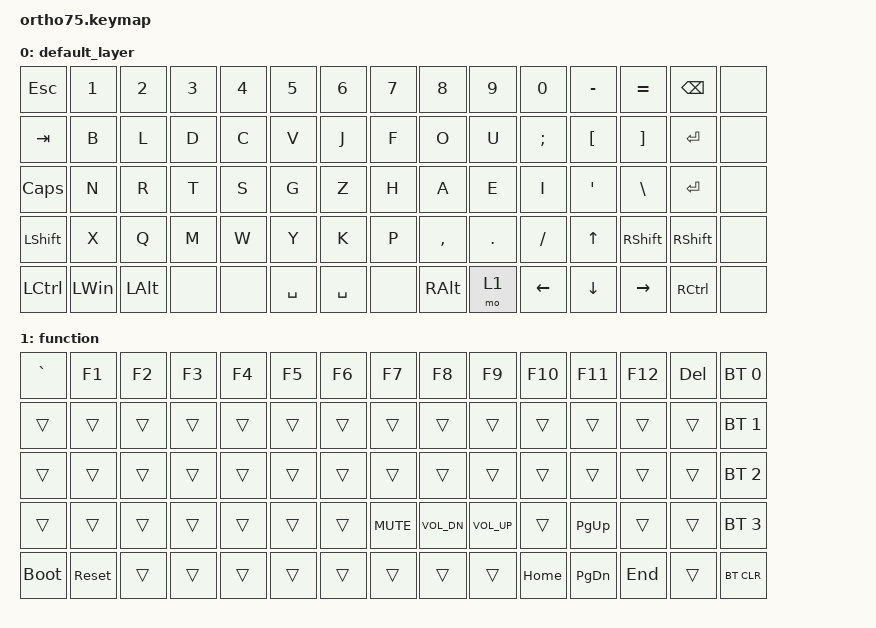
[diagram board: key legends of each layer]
/*
 * Copyright (c) 2020 The ZMK Contributors
 *
 * SPDX-License-Identifier: MIT
 */

#include <behaviors.dtsi>
#include <dt-bindings/zmk/bt.h>
#include <dt-bindings/zmk/keys.h>

/ {
    keymap {
        compatible = "zmk,keymap";

        default_layer {
            bindings = <
&kp ESCAPE    &kp N1        &kp N2        &kp N3  &kp N4  &kp N5     &kp N6     &kp N7  &kp N8         &kp N9      &kp N0         &kp MINUS         &kp EQUAL          &kp BACKSPACE    &none
&kp TAB       &kp B         &kp L         &kp D   &kp C   &kp V      &kp J      &kp F   &kp O          &kp U       &kp SEMICOLON  &kp LEFT_BRACKET  &kp RIGHT_BRACKET  &kp ENTER        &none
&kp CAPSLOCK  &kp N         &kp R         &kp T   &kp S   &kp G      &kp Z      &kp H   &kp A          &kp E       &kp I          &kp SQT           &kp BACKSLASH      &kp ENTER        &none
&kp LSHIFT    &kp X         &kp Q         &kp M   &kp W   &kp Y      &kp K      &kp P   &kp COMMA      &kp PERIOD  &kp SLASH      &kp UP            &kp RIGHT_SHIFT    &kp RIGHT_SHIFT  &none
&kp LCTRL     &kp LEFT_WIN  &kp LEFT_ALT  &none   &none   &kp SPACE  &kp SPACE  &none   &kp RIGHT_ALT  &mo 1       &kp LEFT       &kp DOWN          &kp RIGHT          &kp RCTRL        &none
            >;
        };

        function {
            bindings = <
&kp GRAVE    &kp F1      &kp F2  &kp F3  &kp F4  &kp F5  &kp F6  &kp F7      &kp F8        &kp F9        &kp F10   &kp F11    &kp F12  &kp DELETE  &bt BT_SEL 0
&trans       &trans      &trans  &trans  &trans  &trans  &trans  &trans      &trans        &trans        &trans    &trans     &trans   &trans      &bt BT_SEL 1
&trans       &trans      &trans  &trans  &trans  &trans  &trans  &trans      &trans        &trans        &trans    &trans     &trans   &trans      &bt BT_SEL 2
&trans       &trans      &trans  &trans  &trans  &trans  &trans  &kp C_MUTE  &kp C_VOL_DN  &kp C_VOL_UP  &trans    &kp PG_UP  &trans   &trans      &bt BT_SEL 3
&bootloader  &sys_reset  &trans  &trans  &trans  &trans  &trans  &trans      &trans        &trans        &kp HOME  &kp PG_DN  &kp END  &trans      &bt BT_CLR
            >;
        };
    };
};
